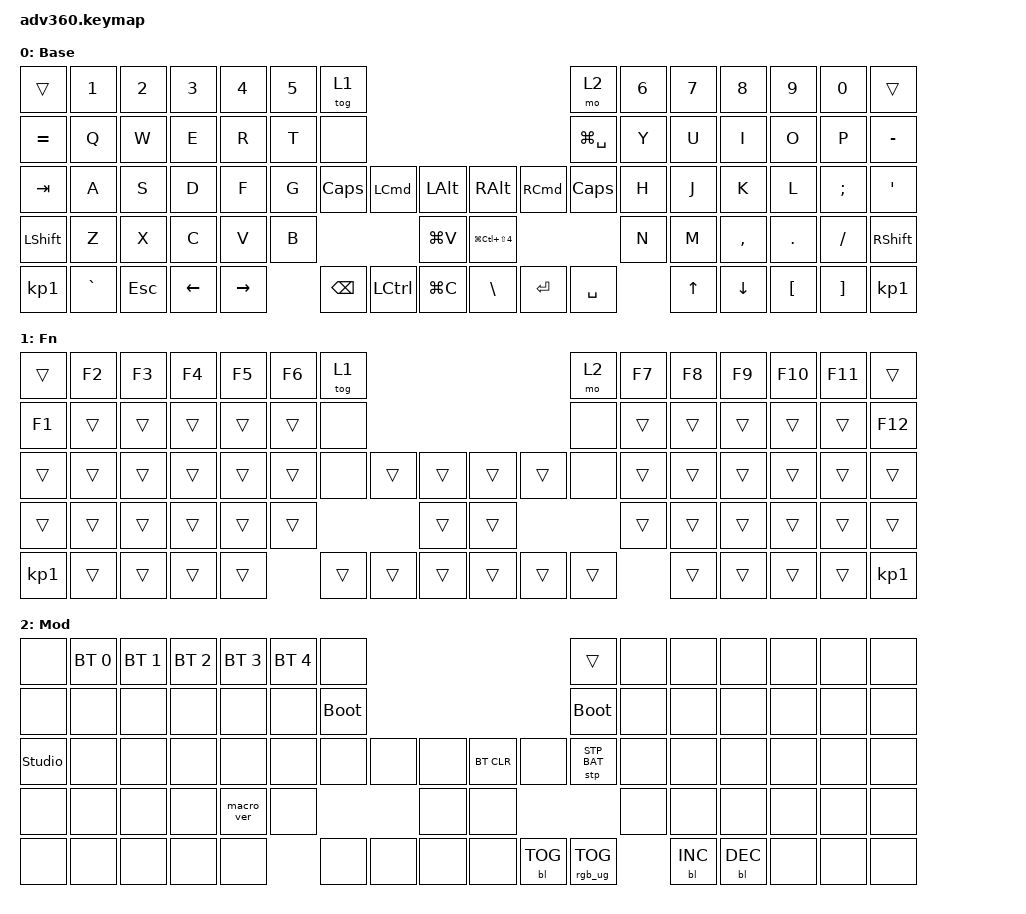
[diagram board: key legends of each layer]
#include <dt-bindings/zmk/stp.h>
#include <behaviors.dtsi>
#include <dt-bindings/zmk/backlight.h>
#include <dt-bindings/zmk/bt.h>
#include <dt-bindings/zmk/keys.h>
#include <dt-bindings/zmk/rgb.h>

/ {
    behaviors {
        #include "macros.dtsi"
      #include "version.dtsi"

        hm: homerow_mods {
            compatible = "zmk,behavior-hold-tap";
            label = "HOMEROW_MODS";
            #binding-cells = <2>;
            tapping-term-ms = <200>;
            quick_tap_ms = <175>;
            flavor = "tap-preferred";
            bindings = <&kp>, <&kp>;
        };
    };

    keymap {
        compatible = "zmk,keymap";

        default_layer {
            display-name = "Base";
            bindings = <
&trans           &kp N1     &kp N2      &kp N3    &kp N4     &kp N5  &tog 1                                                                                     &mo 2          &kp N6  &kp N7  &kp N8     &kp N9    &kp N0    &trans
&kp EQUAL        &kp Q      &kp W       &kp E     &kp R      &kp T   &none                                                                                      &kp LG(SPACE)  &kp Y   &kp U   &kp I      &kp O     &kp P     &kp MINUS
&kp TAB          &kp A      &kp S       &kp D     &kp F      &kp G   &kp CAPS  &kp LEFT_COMMAND  &kp LEFT_ALT      &kp RIGHT_ALT             &kp RIGHT_COMMAND  &kp CAPS       &kp H   &kp J   &kp K      &kp L     &kp SEMI  &kp SQT
&kp LSHFT        &kp Z      &kp X       &kp C     &kp V      &kp B                               &kp LG(V)         &kp LG(LC(LS(NUMBER_4)))                                    &kp N   &kp M   &kp COMMA  &kp DOT   &kp FSLH  &kp RSHFT
&kp KP_NUMBER_1  &kp GRAVE  &kp ESCAPE  &kp LEFT  &kp RIGHT          &kp BSPC  &kp LEFT_CONTROL  &kp LG(C)         &kp BACKSLASH             &kp ENTER          &kp SPACE              &kp UP  &kp DOWN   &kp LBKT  &kp RBKT  &kp KP_NUMBER_1
            >;
        };

        fn {
            display-name = "Fn";
            bindings = <
&trans           &kp F2  &kp F3  &kp F4  &kp F5  &kp F6  &tog 1                                      &mo 2   &kp F7  &kp F8  &kp F9  &kp F10  &kp F11  &trans
&kp F1           &trans  &trans  &trans  &trans  &trans  &none                                       &none   &trans  &trans  &trans  &trans   &trans   &kp F12
&trans           &trans  &trans  &trans  &trans  &trans  &none   &trans  &trans      &trans  &trans  &none   &trans  &trans  &trans  &trans   &trans   &trans
&trans           &trans  &trans  &trans  &trans  &trans                  &trans      &trans                  &trans  &trans  &trans  &trans   &trans   &trans
&kp KP_NUMBER_1  &trans  &trans  &trans  &trans          &trans  &trans  &trans      &trans  &trans  &trans          &trans  &trans  &trans   &trans   &kp KP_NUMBER_1
            >;
        };

        mod {
            display-name = "Mod";
            bindings = <
&none           &bt BT_SEL 0  &bt BT_SEL 1  &bt BT_SEL 2  &bt BT_SEL 3  &bt BT_SEL 4  &none                                                  &trans           &none  &none       &none       &none  &none  &none
&none           &none         &none         &none         &none         &none         &bootloader                                            &bootloader      &none  &none       &none       &none  &none  &none
&studio_unlock  &none         &none         &none         &none         &none         &none        &none  &none      &bt BT_CLR  &none       &stp STP_BAT     &none  &none       &none       &none  &none  &none
&none           &none         &none         &none         &macro_ver    &none                             &none      &none                                    &none  &none       &none       &none  &none  &none
&none           &none         &none         &none         &none                       &none        &none  &none      &none       &bl BL_TOG  &rgb_ug RGB_TOG         &bl BL_INC  &bl BL_DEC  &none  &none  &none
            >;
        };
    };
};
